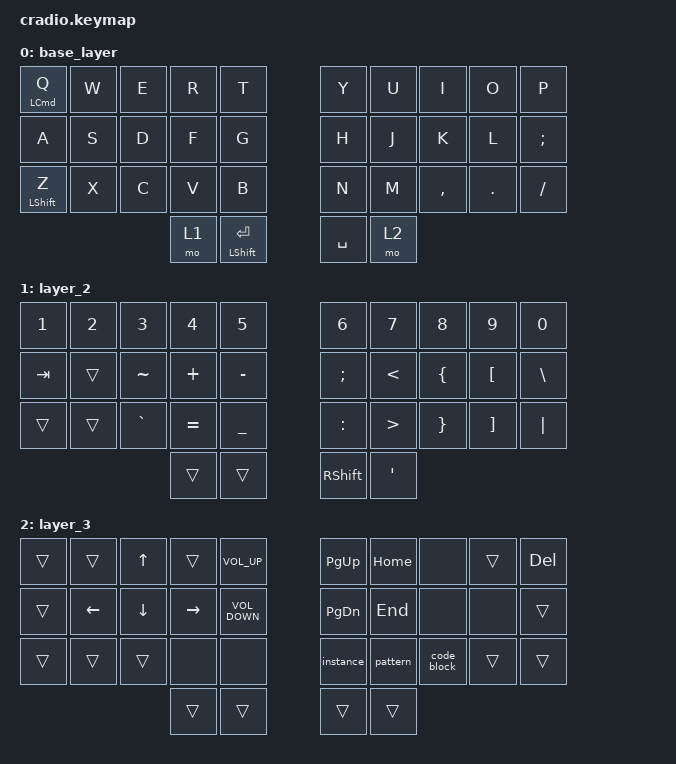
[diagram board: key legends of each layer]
/*
 * Copyright (c) 2020 The ZMK Contributors
 *
 * SPDX-License-Identifier: MIT
 */

#include <behaviors.dtsi>
#include <dt-bindings/zmk/keys.h>

#define DEFAULT_L   0
#define SYMBOLS_L   1
#define NAVI_L      2
#define NUMBERS_L   3

/ {
    combos {
    };

    macros {
        instance: instance {
            compatible = "zmk,behavior-macro";
            #binding-cells = <0>;
            bindings = <&none &kp I &kp N &kp S &kp T &kp A &kp N &kp C &kp E &kp EQUAL>;
            label = "INSTANCE";
        };

        pattern: pattern {
            compatible = "zmk,behavior-macro";
            #binding-cells = <0>;
            bindings = <&none &kp P &kp A &kp T &kp T &kp E &kp R &kp N &kp EQUAL>;
            label = "PATTERN";
        };

        code_block: code_block {
            compatible = "zmk,behavior-macro";
            #binding-cells = <0>;
            bindings = <&none &kp LEFT_BRACE &kp C &kp O &kp D &kp E &kp RBRC &kp RET &kp RET &kp LEFT_BRACE &kp C &kp O &kp D &kp E &kp RBRC &kp UP_ARROW>;
            label = "CODE_BLOCK";
        };
    };

    keymap {
        compatible = "zmk,keymap";

        base_layer {
            bindings = <
&mt LEFT_COMMAND Q  &kp W  &kp E  &kp R  &kp T                 &kp Y      &kp U  &kp I      &kp O    &kp P
&kp A               &kp S  &kp D  &kp F  &kp G                 &kp H      &kp J  &kp K      &kp L    &kp SEMI
&mt LEFT_SHIFT Z    &kp X  &kp C  &kp V  &kp B                 &kp N      &kp M  &kp COMMA  &kp DOT  &kp FSLH
                                  &mo 1  &mt LEFT_SHIFT RET    &kp SPACE  &mo 2
            >;
        };

        layer_2 {
            bindings = <
&kp N1   &kp N2  &kp N3     &kp N4     &kp N5       &kp N6           &kp N7            &kp N8           &kp N9             &kp N0
&kp TAB  &trans  &kp TILDE  &kp PLUS   &kp MINUS    &kp SEMI         &kp LESS_THAN     &kp LEFT_BRACE   &kp LEFT_BRACKET   &kp BACKSLASH
&trans   &trans  &kp GRAVE  &kp EQUAL  &kp UNDER    &kp COLON        &kp GREATER_THAN  &kp RIGHT_BRACE  &kp RIGHT_BRACKET  &kp PIPE
                            &trans     &trans       &kp RIGHT_SHIFT  &kp APOS
            >;
        };

        layer_3 {
            bindings = <
&trans  &trans    &kp UP_ARROW  &trans     &kp C_VOL_UP         &kp PAGE_UP    &kp HOME  &none        &trans  &kp DELETE
&trans  &kp LEFT  &kp DOWN      &kp RIGHT  &kp C_VOLUME_DOWN    &kp PAGE_DOWN  &kp END   &none        &none   &trans
&trans  &trans    &trans        &none      &none                &instance      &pattern  &code_block  &trans  &trans
                                &trans     &trans               &trans         &trans
            >;
        };
    };
};
